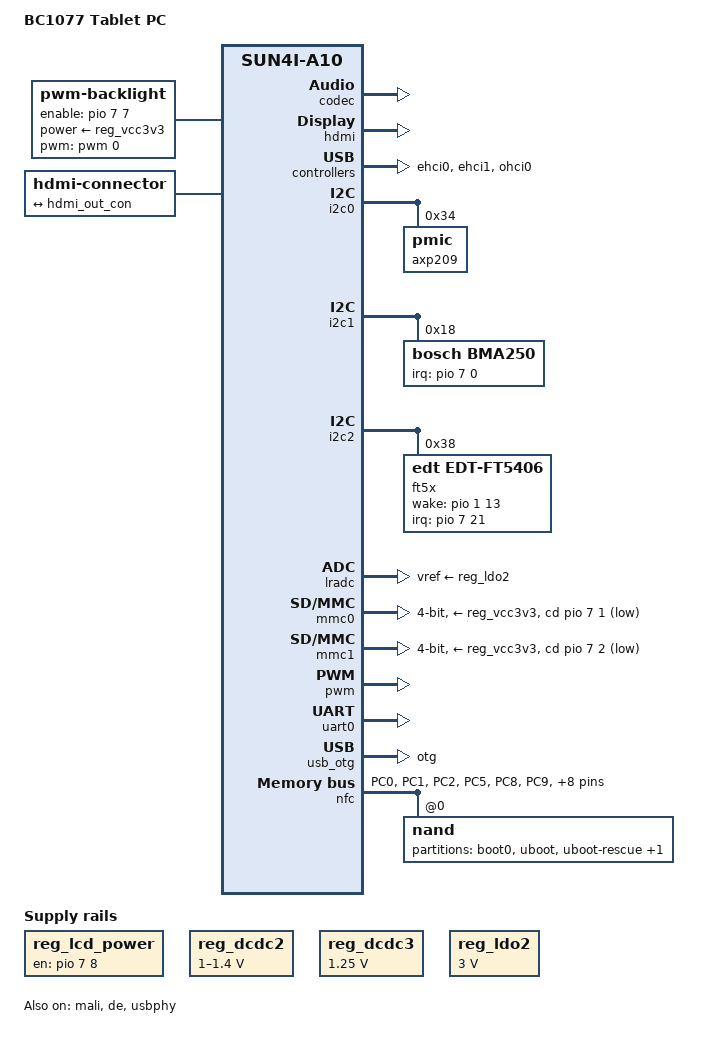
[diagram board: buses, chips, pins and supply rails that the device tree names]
/*
 * Copyright 2015 Hans de Goede <hdegoede@redhat.com>
 *
 * This file is dual-licensed: you can use it either under the terms
 * of the GPL or the X11 license, at your option. Note that this dual
 * licensing only applies to this file, and not this project as a
 * whole.
 *
 *  a) This file is free software; you can redistribute it and/or
 *     modify it under the terms of the GNU General Public License as
 *     published by the Free Software Foundation; either version 2 of the
 *     License, or (at your option) any later version.
 *
 *     This file is distributed in the hope that it will be useful,
 *     but WITHOUT ANY WARRANTY; without even the implied warranty of
 *     MERCHANTABILITY or FITNESS FOR A PARTICULAR PURPOSE.  See the
 *     GNU General Public License for more details.
 *
 * Or, alternatively,
 *
 *  b) Permission is hereby granted, free of charge, to any person
 *     obtaining a copy of this software and associated documentation
 *     files (the "Software"), to deal in the Software without
 *     restriction, including without limitation the rights to use,
 *     copy, modify, merge, publish, distribute, sublicense, and/or
 *     sell copies of the Software, and to permit persons to whom the
 *     Software is furnished to do so, subject to the following
 *     conditions:
 *
 *     The above copyright notice and this permission notice shall be
 *     included in all copies or substantial portions of the Software.
 *
 *     THE SOFTWARE IS PROVIDED "AS IS", WITHOUT WARRANTY OF ANY KIND,
 *     EXPRESS OR IMPLIED, INCLUDING BUT NOT LIMITED TO THE WARRANTIES
 *     OF MERCHANTABILITY, FITNESS FOR A PARTICULAR PURPOSE AND
 *     NONINFRINGEMENT. IN NO EVENT SHALL THE AUTHORS OR COPYRIGHT
 *     HOLDERS BE LIABLE FOR ANY CLAIM, DAMAGES OR OTHER LIABILITY,
 *     WHETHER IN AN ACTION OF CONTRACT, TORT OR OTHERWISE, ARISING
 *     FROM, OUT OF OR IN CONNECTION WITH THE SOFTWARE OR THE USE OR
 *     OTHER DEALINGS IN THE SOFTWARE.
 */

/dts-v1/;
#include "allwinner/sun4i-a10.dtsi"
#include "allwinner/sunxi-common-regulators.dtsi"
#include <dt-bindings/gpio/gpio.h>
#include <dt-bindings/input/input.h>
#include <dt-bindings/interrupt-controller/irq.h>
#include <dt-bindings/pwm/pwm.h>

/ {
	model = "BC1077 Tablet PC";
	compatible = "bc1077", "allwinner,sun4i-a10";

	aliases {
		serial0 = &uart0;
	};

	backlight: backlight {
		compatible = "pwm-backlight";
		pwms = <&pwm 0 50000 0>;
		brightness-levels = <0 10 20 30 40 50 60 70 80 90 100>;
		default-brightness-level = <8>;
		enable-gpios = <&pio 7 7 GPIO_ACTIVE_HIGH>; /* PH7 */
		power-supply = <&reg_vcc3v3>;
	};

	/* panel {
		compatible = "panel-lvds";

		width-mm = <236>;
		height-mm = <142>;
		data-mapping = "jeida-24";

		backlight = <&backlight>;
		power-supply = <&reg_lcd_power>;

		panel-timing {
			clock-frequency = <51000000>;
			hactive = <1024>;
			vactive = <600>;
			hsync-len = <1>;
			hfront-porch = <315>;
			hback-porch = <4>;
			vsync-len = <1>;
			vfront-porch = <30>;
			vback-porch = <4>;
		};

		port {
			panel_input: endpoint {
				remote-endpoint = <&tcon0_out_panel>;
			};
		};
	}; */

	hdmi-connector {
		compatible = "hdmi-connector";
		type = "a";

		port {
			hdmi_con_in: endpoint {
				remote-endpoint = <&hdmi_out_con>;
			};
		};
	};

	reg_lcd_power: reg-lcd-power {
		compatible = "regulator-fixed";
		regulator-name = "reg-lcd-power";
		gpio = <&pio 7 8 GPIO_ACTIVE_HIGH>; /* PH8 */
		enable-active-high;
	};

	chosen {
		stdout-path = "serial0:115200n8";
	};
};

&codec {
	status = "okay";
};

&mali {
	status = "okay";
};

&de {
	status = "okay";
};

&hdmi {
	status = "okay";
};

/* &tcon0_out {
	tcon0_out_panel: endpoint@0 {
		reg = <0>;
		remote-endpoint = <&panel_input>;
	};
}; */

&hdmi_out {
	hdmi_out_con: endpoint {
		remote-endpoint = <&hdmi_con_in>;
	};
};

&cpu0 {
	cpu-supply = <&reg_dcdc2>;
};

&ehci0  {
	status = "okay";
};

&ehci1 {
	status = "okay";
};

&i2c0 {
	status = "okay";

	axp209: pmic@34 {
		reg = <0x34>;
		interrupts = <0>;
	};
};

#include "allwinner/axp209.dtsi"

&i2c1 {
	status = "okay";

	/* Accelerometer */
	bma250@18 {
		compatible = "bosch,bma250";
		reg = <0x18>;
		interrupt-parent = <&pio>;
		interrupts = <7 0 IRQ_TYPE_EDGE_RISING>; /* PH0 / EINT0 */
	};
};

&i2c2 {
	status = "okay";

	ft5x: touchscreen@38 {
		compatible = "edt,edt-ft5406";
		reg = <0x38>;
		interrupt-parent = <&pio>;
		interrupts = <7 21 IRQ_TYPE_EDGE_FALLING>;
		wake-gpios = <&pio 1 13 GPIO_ACTIVE_HIGH>; /* PB13 */
		touchscreen-size-x = <600>;
		touchscreen-size-y = <1024>;
		touchscreen-swapped-x-y;
	};
};

&lradc {
	vref-supply = <&reg_ldo2>;
	status = "okay";

	button-200 {
		label = "Volume Up";
		linux,code = <KEY_VOLUMEUP>;
		channel = <0>;
		voltage = <200000>;
	};

	button-1000 {
		label = "Volume Down";
		linux,code = <KEY_VOLUMEDOWN>;
		channel = <0>;
		voltage = <1000000>;
	};

	button-1200 {
		label = "Home";
		linux,code = <KEY_HOMEPAGE>;
		channel = <0>;
		voltage = <1200000>;
	};
};

&mmc0 {
	vmmc-supply = <&reg_vcc3v3>;
	bus-width = <4>;
	cd-gpios = <&pio 7 1 GPIO_ACTIVE_LOW>; /* PH1 */
	status = "okay";
};

&mmc1 {
	vmmc-supply = <&reg_vcc3v3>;
	bus-width = <4>;
	cd-gpios = <&pio 7 2 GPIO_ACTIVE_LOW>; /* PH2 */
	status = "okay";
};

&ohci0  {
	status = "okay";
};

&otg_sram {
	status = "okay";
};

&pwm {
	pinctrl-names = "default";
	pinctrl-0 = <&pwm0_pin>;
	status = "okay";
};

&reg_dcdc2 {
	regulator-always-on;
	regulator-min-microvolt = <1000000>;
	regulator-max-microvolt = <1400000>;
	regulator-name = "vdd-cpu";
};

&reg_dcdc3 {
	regulator-always-on;
	regulator-min-microvolt = <1250000>;
	regulator-max-microvolt = <1250000>;
	regulator-name = "vdd-int-dll";
};

&reg_ldo1 {
	regulator-name = "vdd-rtc";
};

&reg_ldo2 {
	regulator-always-on;
	regulator-min-microvolt = <3000000>;
	regulator-max-microvolt = <3000000>;
	regulator-name = "avcc";
};

&reg_usb0_vbus {
	status = "okay";
};

&reg_usb1_vbus {
	status = "okay";
};

&reg_usb2_vbus {
	status = "okay";
};

&uart0 {
	pinctrl-names = "default";
	pinctrl-0 = <&uart0_pb_pins>;
	status = "okay";
};

&usb_otg {
	dr_mode = "otg";
	status = "okay";
};

&usbphy {
	usb0_id_det-gpios = <&pio 7 4 (GPIO_ACTIVE_HIGH | GPIO_PULL_UP)>; /* PH4 */
	usb0_vbus_det-gpios = <&pio 7 5 (GPIO_ACTIVE_HIGH | GPIO_PULL_DOWN)>; /* PH5 */
	usb0_vbus-supply = <&reg_usb0_vbus>;
	usb1_vbus-supply = <&reg_usb1_vbus>;
	usb2_vbus-supply = <&reg_usb2_vbus>;
	status = "okay";
};

&pio {
	nand_pins: nand-pins {
		pins = "PC0", "PC1", "PC2",
				"PC5", "PC8", "PC9", "PC10",
				"PC11", "PC12", "PC13", "PC14",
				"PC15";
		function = "nand0";
	};

	nand_cs0_pin: nand-cs0-pin {
		pins = "PC4";
		function = "nand0";
	};

	nand_rb0_pin: nand-rb0-pin {
		pins = "PC6";
		function = "nand0";
	};
};

&nfc {
	#address-cells = <1>;
	#size-cells = <0>;
	pinctrl-names = "default";
	pinctrl-0 = <&nand_pins>, <&nand_cs0_pin>, <&nand_rb0_pin>;
	status = "okay";

	nand@0 {
		reg = <0>;
		allwinner,rb = <0>;
		nand-ecc-mode = "hw";
		nand-on-flash-bbt;

		partitions {
			compatible = "fixed-partitions";
			#address-cells = <2>;
			#size-cells = <2>;

			boot0@0 {
				label = "boot0";
				reg = /bits/ 64 <0x0 0x200000>;
			};

			uboot@200000 {
				label = "uboot";
				reg = /bits/ 64 <0x200000 0x200000>;
			};

			uboot-rescue@400000 {
				label = "uboot-rescue";
				reg = /bits/ 64 <0x400000 0x200000>;
			};

			ubi@2000000 {
				label = "ubi";
				reg = /bits/ 64 <0x2000000 0x1FE000000>;
				slc-mode;
			};
		};
	};
};
